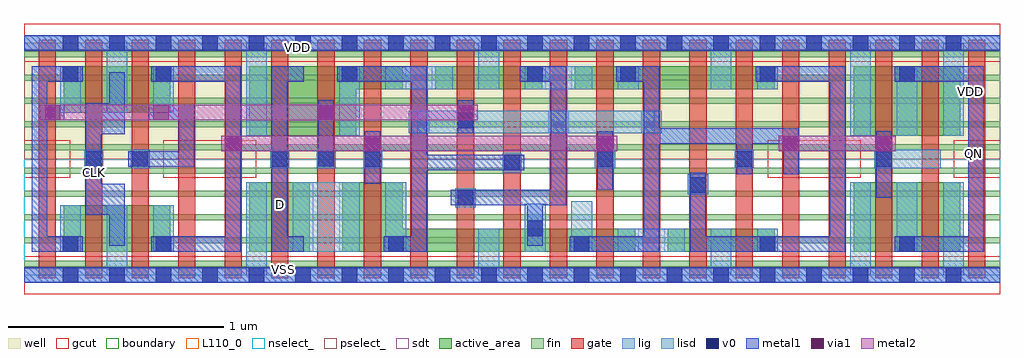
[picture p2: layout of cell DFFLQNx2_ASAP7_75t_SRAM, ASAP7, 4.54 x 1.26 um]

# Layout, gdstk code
import gdstk
lib = gdstk.Library(unit=1e-6, precision=2.5e-10)
def R(c, l, rs):  # rectangles x0, y0, x1, y1
    for r in rs: c.add(gdstk.rectangle(r[:2], r[2:], *l))
def A(c, l, x, y, w, h, nx, ny, dx, dy):  # array of equal rectangles
    R(c, l, [(x+i*dx, y+j*dy, x+i*dx+w, y+j*dy+h) for i in range(nx) for j in range(ny)])
def P(c, l, *ps):  # polygons
    for p in ps: c.add(gdstk.Polygon(p, *l))
well = (1, 0)
fin = (2, 0)
gate = (7, 0)
gcut = (10, 0)
active_area = (11, 0)
nselect_ = (12, 0)
pselect_ = (13, 0)
lig = (16, 0)
lisd = (17, 0)
v0 = (18, 0)
metal1 = (19, 0)
metal2 = (20, 0)
via1 = (21, 0)
sdt = (88, 0)
boundary = (100, 0)
L110_0 = (110, 0)

dfflqnx2_asap7_75t_sram = lib.new_cell('DFFLQNx2_ASAP7_75t_SRAM')
R(dfflqnx2_asap7_75t_sram, well, [(0,0.54,4.536,1.08)])
A(dfflqnx2_asap7_75t_sram, fin, 0, 0.04, 4.536, 0.028, 1, 10, 0, 0.108)
A(dfflqnx2_asap7_75t_sram, gate, 0.068, -0.014, 0.08, 1.108, 21, 1, 0.216, 0)
R(dfflqnx2_asap7_75t_sram, gcut, [(0,-0.088,4.536,0.088), (0,0.452,0.216,0.628), (0.648,0.452,1.08,0.628), (3.456,0.452,3.888,0.628), (4.32,0.452,4.536,0.628), (0,0.992,4.536,1.168)])
R(dfflqnx2_asap7_75t_sram, active_area, [(0.184,0.108,0.68,0.324), (1.048,0.108,1.328,0.432), (2.992,0.108,3.488,0.216), (3.856,0.108,4.352,0.432), (3.856,0.648,4.352,0.972), (0.184,0.756,0.68,0.972), (1.912,0.864,2.408,0.972), (2.56,0.864,3.488,0.972)])
P(dfflqnx2_asap7_75t_sram, active_area, [(1.76,0.972),(1.048,0.972),(1.048,0.648),(1.544,0.648),(1.544,0.864),(1.76,0.864)],
  [(2.84,0.216),(1.76,0.216),(1.76,0.432),(1.48,0.432),(1.48,0.108),(2.84,0.108)])
R(dfflqnx2_asap7_75t_sram, nselect_, [(0,0,4.536,0.54)])
R(dfflqnx2_asap7_75t_sram, pselect_, [(0,0.54,4.536,1.08)])
A(dfflqnx2_asap7_75t_sram, lig, 1.144, 0.496, 0.088, 0.088, 3, 1, 0.216, 0)
R(dfflqnx2_asap7_75t_sram, lig, [(0,-0.032,4.536,0.032), (2.004,0.316,2.1,0.404), (3.084,0.376,3.18,0.468), (2.224,0.476,2.312,0.568), (0.28,0.496,0.368,0.584), (0.496,0.496,0.584,0.584), (2.652,0.496,2.748,0.584), (3.304,0.496,3.392,0.584), (3.952,0.496,4.26,0.584), (1.788,0.66,1.884,0.764), (2.436,0.66,2.532,0.764), (2.868,0.66,2.964,0.764), (0,1.048,4.536,1.112)])
R(dfflqnx2_asap7_75t_sram, lisd, [(0.384,0,0.48,0.324), (1.032,0,1.128,0.432), (2.112,0,2.208,0.216), (3.192,0,3.288,0.216), (3.84,0,3.936,0.432), (4.272,0,4.368,0.432), (0.168,0.108,0.264,0.324), (0.6,0.108,0.696,0.324), (1.248,0.108,1.56,0.432), (1.68,0.108,1.776,0.432), (2.328,0.108,2.424,0.332), (2.544,0.108,2.64,0.344), (2.76,0.108,3.072,0.216), (3.408,0.108,3.504,0.216), (4.056,0.108,4.152,0.432), (1.032,0.648,1.128,1.08), (1.464,0.648,1.56,0.972), (3.84,0.648,3.936,1.08), (4.056,0.648,4.152,0.972), (4.272,0.648,4.368,1.08), (1.828,0.66,2.932,0.764), (0.168,0.756,0.264,0.972), (0.384,0.756,0.48,1.08), (0.6,0.756,0.696,0.972), (1.68,0.864,1.992,0.972), (2.112,0.864,2.208,1.08), (2.328,0.864,2.64,0.972), (2.76,0.864,2.856,0.972), (3.192,0.864,3.288,1.08), (3.408,0.864,3.504,0.972)])
A(dfflqnx2_asap7_75t_sram, v0, 0.18, -0.036, 0.072, 0.072, 20, 2, 0.216, 1.08)
A(dfflqnx2_asap7_75t_sram, v0, 1.692, 0.108, 0.072, 0.072, 3, 1, 0.864, 0)
A(dfflqnx2_asap7_75t_sram, v0, 1.152, 0.504, 0.072, 0.072, 3, 1, 0.216, 0)
A(dfflqnx2_asap7_75t_sram, v0, 2.664, 0.504, 0.072, 0.072, 3, 1, 0.648, 0)
A(dfflqnx2_asap7_75t_sram, v0, 0.612, 0.9, 0.072, 0.072, 3, 1, 0.864, 0)
A(dfflqnx2_asap7_75t_sram, v0, 2.772, 0.9, 0.072, 0.072, 3, 1, 0.648, 0)
R(dfflqnx2_asap7_75t_sram, v0, [(0.18,0.108,0.252,0.18), (0.612,0.108,0.684,0.18), (4.068,0.108,4.14,0.18), (2.34,0.18,2.412,0.252), (2.016,0.324,2.088,0.396), (3.096,0.384,3.168,0.456), (2.232,0.488,2.304,0.56), (0.288,0.504,0.36,0.576), (0.504,0.504,0.576,0.576), (2.016,0.684,2.088,0.756), (0.18,0.9,0.252,0.972)])
R(dfflqnx2_asap7_75t_sram, metal1, [(0,-0.036,4.536,0.036), (3.96,0.36,4.032,0.668), (2.664,0.396,2.736,0.668), (1.584,0.424,1.656,0.668), (1.368,0.504,1.44,0.812), (2.016,0.66,2.088,0.812), (0,1.044,4.536,1.116)])
P(dfflqnx2_asap7_75t_sram, metal1, [(4.46,0.972),(4.048,0.972),(4.048,0.9),(4.388,0.9),(4.388,0.18),(4.048,0.18),(4.048,0.108),(4.46,0.108)],
  [(0.272,0.18),(0.108,0.18),(0.108,0.72),(0.188,0.72),(0.188,0.792),(0.108,0.792),(0.108,0.9),(0.272,0.9),(0.272,0.972),(0.036,0.972),(0.036,0.108),(0.272,0.108)],
  [(0.468,0.424),(0.36,0.424),(0.36,0.656),(0.468,0.656),(0.468,0.944),(0.396,0.944),(0.396,0.8),(0.288,0.8),(0.288,0.28),(0.396,0.28),(0.396,0.136),(0.468,0.136)],
  [(0.792,0.792),(0.58,0.792),(0.58,0.72),(0.72,0.72),(0.72,0.576),(0.484,0.576),(0.484,0.504),(0.792,0.504)],
  [(1.008,0.972),(0.592,0.972),(0.592,0.9),(0.936,0.9),(0.936,0.18),(0.592,0.18),(0.592,0.108),(1.008,0.108)],
  [(1.3,0.18),(1.224,0.18),(1.224,0.9),(1.3,0.9),(1.3,0.972),(1.152,0.972),(1.152,0.108),(1.3,0.108)],
  [(2.324,0.56),(1.872,0.56),(1.872,0.972),(1.456,0.972),(1.456,0.9),(1.8,0.9),(1.8,0.18),(1.672,0.18),(1.672,0.108),(1.872,0.108),(1.872,0.488),(2.324,0.488)],
  [(2.52,0.972),(2.304,0.972),(2.304,0.9),(2.448,0.9),(2.448,0.396),(1.984,0.396),(1.984,0.324),(2.34,0.324),(2.34,0.136),(2.412,0.136),(2.412,0.324),(2.52,0.324)],
  [(3.6,0.684),(2.952,0.684),(2.952,0.972),(2.752,0.972),(2.752,0.9),(2.88,0.9),(2.88,0.18),(2.536,0.18),(2.536,0.108),(2.952,0.108),(2.952,0.612),(3.312,0.612),(3.312,0.468),(3.384,0.468),(3.384,0.612),(3.528,0.612),(3.528,0.468),(3.6,0.468)],
  [(3.816,0.972),(3.4,0.972),(3.4,0.9),(3.744,0.9),(3.744,0.18),(3.168,0.18),(3.168,0.476),(3.096,0.476),(3.096,0.108),(3.816,0.108)])
R(dfflqnx2_asap7_75t_sram, metal2, [(0.916,0.576,2.756,0.648), (3.508,0.576,4.052,0.648), (0.076,0.72,2.108,0.792)])
R(dfflqnx2_asap7_75t_sram, via1, [(0.936,0.576,1.008,0.648), (1.584,0.576,1.656,0.648), (2.664,0.576,2.736,0.648), (3.528,0.576,3.6,0.648), (3.96,0.576,4.032,0.648), (0.096,0.72,0.168,0.792), (0.6,0.72,0.672,0.792), (1.368,0.72,1.44,0.792), (2.016,0.72,2.088,0.792)])
A(dfflqnx2_asap7_75t_sram, sdt, 0.168, 0.108, 0.096, 0.216, 3, 2, 0.216, 0.648)
A(dfflqnx2_asap7_75t_sram, sdt, 1.032, 0.108, 0.096, 0.324, 4, 1, 0.216, 0)
A(dfflqnx2_asap7_75t_sram, sdt, 2.112, 0.108, 0.096, 0.108, 7, 1, 0.216, 0)
A(dfflqnx2_asap7_75t_sram, sdt, 3.84, 0.108, 0.096, 0.324, 3, 2, 0.216, 0.54)
A(dfflqnx2_asap7_75t_sram, sdt, 1.68, 0.864, 0.096, 0.108, 6, 1, 0.216, 0)
R(dfflqnx2_asap7_75t_sram, sdt, [(1.032,0.648,1.128,0.972), (1.464,0.648,1.56,0.972), (3.192,0.864,3.288,0.972), (3.408,0.864,3.504,0.972)])
R(dfflqnx2_asap7_75t_sram, boundary, [(0,0,4.536,1.08)])
R(dfflqnx2_asap7_75t_sram, L110_0, [(0,0,4.536,1.08)])
dfflqnx2_asap7_75t_sram.add(gdstk.Label('VSS', (4.676,0.852), layer=3, texttype=251))
dfflqnx2_asap7_75t_sram.add(gdstk.Label('VDD', (4.4,0.856), layer=1, texttype=251))
dfflqnx2_asap7_75t_sram.add(gdstk.Label('VDD', (1.272,1.056), layer=19, texttype=251))
dfflqnx2_asap7_75t_sram.add(gdstk.Label('VSS', (1.208,0.028), layer=19, texttype=251))
dfflqnx2_asap7_75t_sram.add(gdstk.Label('D', (1.192,0.328), layer=19, texttype=251))
dfflqnx2_asap7_75t_sram.add(gdstk.Label('CLK', (0.328,0.476), layer=19, texttype=251))
dfflqnx2_asap7_75t_sram.add(gdstk.Label('QN', (4.412,0.564), layer=19, texttype=251))

lib.write_gds('DFFLQNx2_ASAP7_75t_SRAM.gds')
